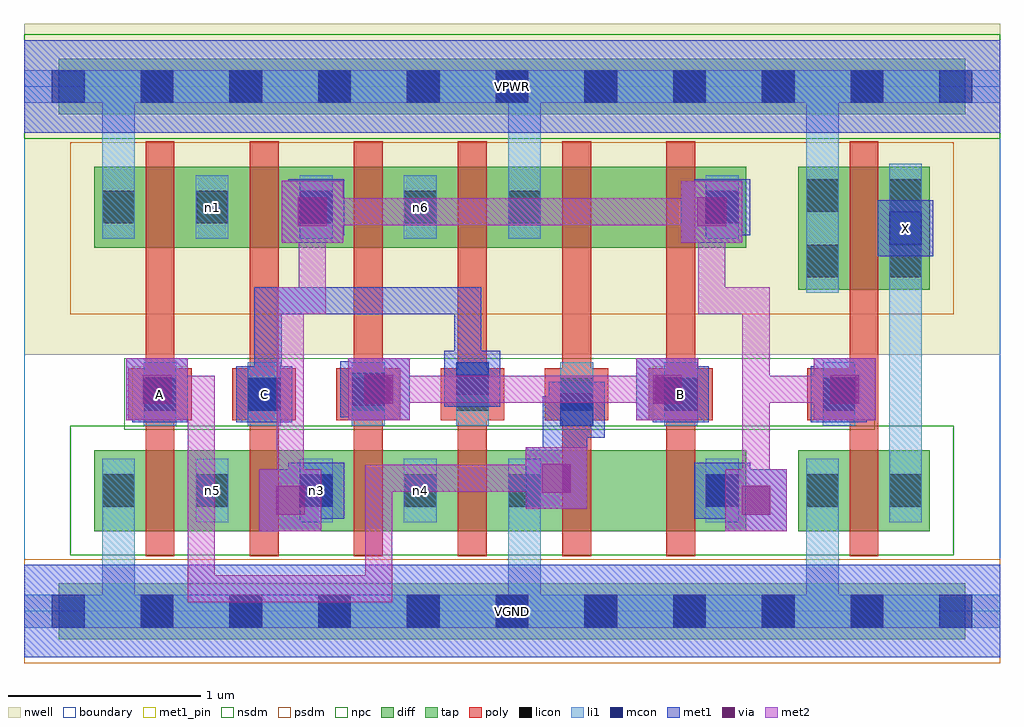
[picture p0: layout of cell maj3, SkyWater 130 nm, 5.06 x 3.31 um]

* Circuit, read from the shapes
.subckt maj3 A B C VGND VPWR X n1 n3 n4 n5 n6
XM1 n5 A VGND VGND sky130_fd_pr__nfet_01v8 w=0.42 l=0.15
XM2 n3 C n5 VGND sky130_fd_pr__nfet_01v8 w=0.42 l=0.15
XM3 n4 B n3 VGND sky130_fd_pr__nfet_01v8 w=0.42 l=0.15
XM4 VGND C n4 VGND sky130_fd_pr__nfet_01v8 w=0.42 l=0.15
XM5 n2 A VGND VGND sky130_fd_pr__nfet_01v8 w=0.42 l=0.15
XM6 n3 B n2 VGND sky130_fd_pr__nfet_01v8 w=0.42 l=0.15
XM7 X n3 VGND VGND sky130_fd_pr__nfet_01v8 w=0.42 l=0.15
XM8 n1 A VPWR VPWR sky130_fd_pr__pfet_01v8 w=0.42 l=0.15
XM9 n3 C n1 VPWR sky130_fd_pr__pfet_01v8 w=0.42 l=0.15
XM10 n6 B n3 VPWR sky130_fd_pr__pfet_01v8 w=0.42 l=0.15
XM11 VPWR C n6 VPWR sky130_fd_pr__pfet_01v8 w=0.42 l=0.15
XM12 n7 A VPWR VPWR sky130_fd_pr__pfet_01v8 w=0.42 l=0.15
XM13 n3 B n7 VPWR sky130_fd_pr__pfet_01v8 w=0.42 l=0.15
XM14 X n3 VPWR VPWR sky130_fd_pr__pfet_01v8 w=0.64 l=0.15
.ends

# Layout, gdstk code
import gdstk
lib = gdstk.Library(unit=1e-6, precision=1e-09)
def R(c, l, rs):  # rectangles x0, y0, x1, y1
    for r in rs: c.add(gdstk.rectangle(r[:2], r[2:], *l))
def A(c, l, x, y, w, h, nx, ny, dx, dy):  # array of equal rectangles
    R(c, l, [(x+i*dx, y+j*dy, x+i*dx+w, y+j*dy+h) for i in range(nx) for j in range(ny)])
nwell = (64, 20)
diff = (65, 20)
tap = (65, 44)
poly = (66, 20)
licon = (66, 44)
li1 = (67, 20)
mcon = (67, 44)
met1_pin = (68, 16)
met1 = (68, 20)
via = (68, 44)
met2 = (69, 20)
nsdm = (93, 44)
psdm = (94, 20)
npc = (95, 20)
boundary = (235, 4)

maj3 = lib.new_cell('maj3')
R(maj3, nwell, [(0,1.33,5.06,3.045)])
R(maj3, diff, [(0.365,0.415,3.745,0.835), (4.015,0.415,4.695,0.835), (4.015,1.665,4.695,2.305), (0.365,1.885,3.745,2.305)])
R(maj3, tap, [(0.18,-0.145,4.88,0.145), (0.18,2.575,4.88,2.865)])
A(maj3, poly, 0.63, 0.285, 0.15, 2.15, 6, 1, 0.54, 0)
A(maj3, poly, 0.54, 0.99, 0.33, 0.27, 6, 1, 0.54, 0)
R(maj3, poly, [(4.28,0.285,4.43,2.435), (4.06,0.99,4.39,1.26)])
A(maj3, licon, 0.605, -0.085, 0.17, 0.17, 9, 2, 0.46, 2.72)
A(maj3, licon, 0.89, 0.54, 0.17, 0.17, 4, 2, 0.54, 1.47)
A(maj3, licon, 0.62, 1.04, 0.17, 0.17, 6, 1, 0.54, 0)
R(maj3, licon, [(0.405,0.54,0.575,0.71), (3.535,0.54,3.705,0.71), (4.055,0.54,4.225,0.71), (4.485,0.54,4.655,0.71), (4.14,1.04,4.31,1.21), (4.055,1.73,4.225,1.9), (4.485,1.73,4.655,1.9), (0.405,2.01,0.575,2.18), (3.535,2.01,3.705,2.18), (4.055,2.07,4.225,2.24), (4.485,2.07,4.655,2.24)])
A(maj3, li1, 0.89, 0.46, 0.17, 0.33, 4, 2, 0.54, 1.47)
A(maj3, li1, 0.62, 0.96, 0.17, 0.33, 6, 1, 0.54, 0)
R(maj3, li1, [(0,-0.085,5.06,0.085), (0.405,-0.085,0.575,0.79), (2.51,-0.085,2.68,0.79), (4.055,-0.085,4.225,0.79), (0.405,0.46,0.575,0.79), (3.535,0.46,3.705,0.79), (4.055,0.46,4.225,0.79), (4.485,0.46,4.655,0.79), (4.485,0.46,4.655,2.32), (4.14,0.96,4.31,1.29), (4.055,1.65,4.225,2.32), (4.055,1.65,4.225,2.805), (4.485,1.65,4.655,2.32), (0.405,1.93,0.575,2.26), (0.405,1.93,0.575,2.805), (2.51,1.93,2.68,2.805), (3.535,1.93,3.705,2.26), (0,2.635,5.06,2.805)])
A(maj3, mcon, 0.145, -0.085, 0.17, 0.17, 11, 2, 0.46, 2.72)
R(maj3, mcon, [(1.43,0.54,1.6,0.71), (3.535,0.54,3.705,0.71), (2.78,0.96,2.95,1.13), (0.62,1.04,0.79,1.21), (1.16,1.04,1.33,1.21), (3.32,1.04,3.49,1.21), (4.14,1.04,4.31,1.21), (1.7,1.065,1.87,1.235), (2.24,1.12,2.41,1.29), (4.485,1.9,4.655,2.07), (1.43,2.01,1.6,2.18), (3.535,2.01,3.705,2.18)])
R(maj3, met1_pin, [(0,-0.24,5.06,0.24), (0.56,0.98,0.85,1.27), (1.1,0.98,1.39,1.27), (3.26,0.98,3.55,1.27), (4.425,1.84,4.715,2.13), (0,2.48,5.06,2.96)])
R(maj3, met1, [(0,-0.24,5.06,0.24), (1.22,0.415,1.54,0.735), (3.635,0.415,3.955,0.735), (1.37,0.48,1.66,0.77), (3.475,0.48,3.765,0.77), (1.31,0.505,1.565,0.645), (1.425,0.505,1.565,0.645), (3.61,0.505,3.75,0.645), (3.61,0.505,3.865,0.645), (2.6,0.53,2.92,0.85), (2.69,0.62,2.83,0.99), (2.69,0.85,2.83,1.115), (2.69,0.85,2.92,0.975), (2.72,0.85,2.92,0.9), (2.72,0.9,3.01,1.19), (2.69,0.975,2.935,1.115), (0.56,0.98,0.85,1.27), (1.1,0.98,1.39,1.27), (3.26,0.98,3.55,1.27), (4.08,0.98,4.37,1.27), (0.53,0.99,0.85,1.31), (1.68,0.99,2,1.31), (3.175,0.99,3.495,1.31), (4.095,0.99,4.415,1.31), (1.64,1.005,1.93,1.295), (2.18,1.06,2.47,1.35), (0.62,1.08,0.76,1.22), (1.195,1.08,1.335,1.22), (1.195,1.08,1.335,1.68), (1.715,1.08,1.91,1.22), (3.265,1.08,3.405,1.22), (4.185,1.08,4.325,1.22), (2.23,1.135,2.395,1.275), (2.23,1.135,2.37,1.45), (2.23,1.31,2.37,1.68), (1.195,1.54,2.37,1.68), (4.425,1.84,4.715,2.13), (1.335,1.91,1.655,2.23), (3.405,1.91,3.725,2.23), (1.37,1.95,1.66,2.24), (3.475,1.95,3.765,2.24), (1.425,2,1.565,2.14), (3.495,2,3.635,2.14), (0,2.48,5.06,2.96)])
R(maj3, via, [(1.305,0.5,1.455,0.65), (3.72,0.5,3.87,0.65), (2.685,0.615,2.835,0.765), (0.615,1.075,0.765,1.225), (1.765,1.075,1.915,1.225), (3.26,1.075,3.41,1.225), (4.18,1.075,4.33,1.225), (1.42,1.995,1.57,2.145), (3.49,1.995,3.64,2.145)])
R(maj3, met2, [(0.85,0.045,0.99,1.22), (0.85,0.045,1.91,0.185), (1.77,0.045,1.91,0.76), (1.22,0.415,1.54,0.735), (3.635,0.415,3.955,0.735), (1.31,0.505,1.45,1.68), (3.725,0.505,3.865,1.22), (2.6,0.53,2.92,0.85), (1.77,0.62,2.83,0.76), (0.53,0.99,0.85,1.31), (1.68,0.99,2,1.31), (3.175,0.99,3.495,1.31), (4.095,0.99,4.415,1.31), (0.62,1.08,0.99,1.22), (1.77,1.08,3.405,1.22), (3.725,1.08,3.865,1.68), (3.725,1.08,4.325,1.22), (1.31,1.54,1.565,1.68), (1.425,1.54,1.565,2.14), (3.495,1.54,3.635,2.14), (3.495,1.54,3.865,1.68), (1.335,1.91,1.655,2.23), (3.405,1.91,3.725,2.23), (1.425,2,3.635,2.14)])
R(maj3, nsdm, [(0.24,0.29,4.82,0.96), (0,2.45,5.06,2.99)])
R(maj3, psdm, [(0,-0.27,5.06,0.27), (0.24,1.54,4.82,2.43)])
R(maj3, npc, [(0.52,0.94,4.41,1.31)])
R(maj3, boundary, [(0,0,5.06,2.72)])
maj3.add(gdstk.Label('n5', (0.975,0.625), layer=67, texttype=5))
maj3.add(gdstk.Label('n3', (1.515,0.625), layer=67, texttype=5))
maj3.add(gdstk.Label('n4', (2.055,0.625), layer=67, texttype=5))
maj3.add(gdstk.Label('n1', (0.975,2.095), layer=67, texttype=5))
maj3.add(gdstk.Label('n6', (2.055,2.095), layer=67, texttype=5))
maj3.add(gdstk.Label('A', (0.705,1.125), layer=68, texttype=5))
maj3.add(gdstk.Label('B', (3.405,1.125), layer=68, texttype=5))
maj3.add(gdstk.Label('C', (1.245,1.125), layer=68, texttype=5))
maj3.add(gdstk.Label('X', (4.57,1.985), layer=68, texttype=5))
maj3.add(gdstk.Label('VPWR', (2.53,2.72), layer=68, texttype=5))
maj3.add(gdstk.Label('VGND', (2.53,0), layer=68, texttype=5))
maj3.add(gdstk.Label('A', (0.705,1.125), layer=68, texttype=16))
maj3.add(gdstk.Label('B', (3.405,1.125), layer=68, texttype=16))
maj3.add(gdstk.Label('C', (1.245,1.125), layer=68, texttype=16))
maj3.add(gdstk.Label('X', (4.57,1.985), layer=68, texttype=16))
maj3.add(gdstk.Label('VPWR', (2.53,2.72), layer=68, texttype=16))
maj3.add(gdstk.Label('VGND', (2.53,0), layer=68, texttype=16))

lib.write_gds('maj3.gds')
